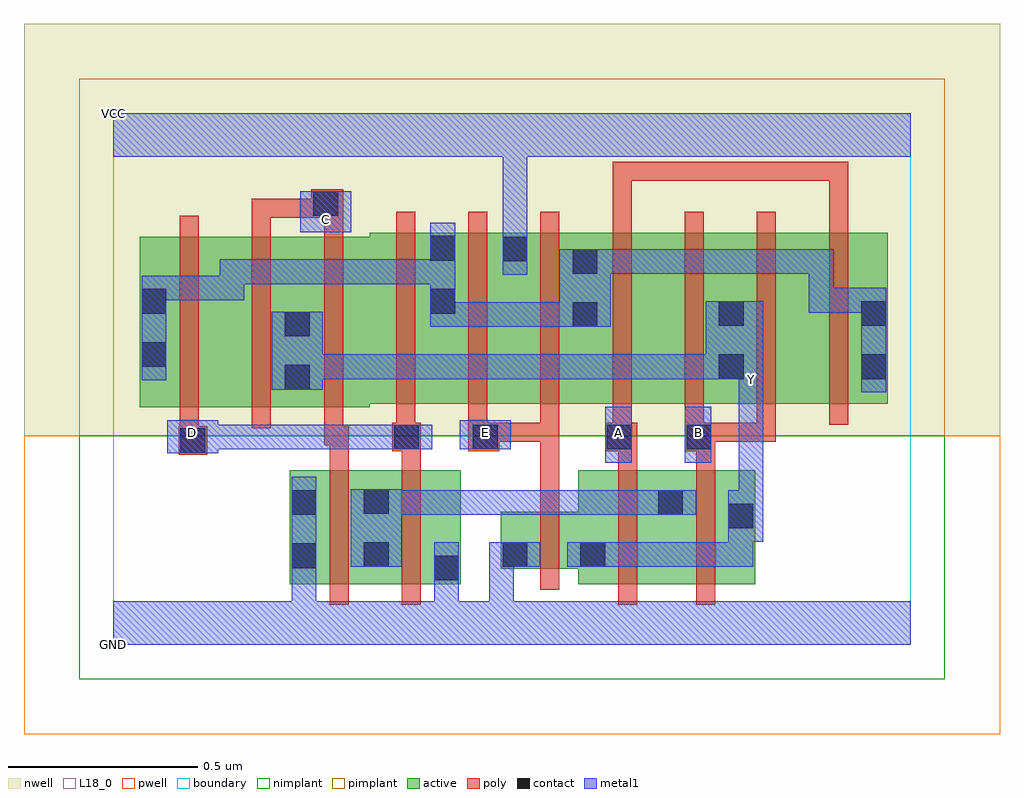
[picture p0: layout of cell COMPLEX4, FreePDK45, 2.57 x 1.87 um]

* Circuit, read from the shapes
.subckt COMPLEX4 A B C D E GND VCC Y
M1 n1 C GND VSUBS nfet w=0.3u l=0.05u
M2 GND D n1 VSUBS nfet w=0.3u l=0.05u
M3 Y E GND VSUBS nfet w=0.15u l=0.05u
M4 n1 A Y VSUBS nfet w=0.3u l=0.05u
M5 Y B n1 VSUBS nfet w=0.3u l=0.05u
M6 n2 D n3 n4 pfet w=0.45u l=0.05u
M7 Y C n2 n4 pfet w=0.45u l=0.05u
M8 n5 C Y n4 pfet w=0.45u l=0.05u
M9 n3 D n5 n4 pfet w=0.45u l=0.05u
M10 VCC E n3 n4 pfet w=0.45u l=0.05u m=2
M11 n6 A n3 n4 pfet w=0.45u l=0.05u
M12 Y B n6 n4 pfet w=0.45u l=0.05u
M13 n7 B Y n4 pfet w=0.45u l=0.05u
M14 n3 A n7 n4 pfet w=0.45u l=0.05u
.ends

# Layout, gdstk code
import gdstk
lib = gdstk.Library(unit=1e-6, precision=1e-09)
def R(c, l, rs):  # rectangles x0, y0, x1, y1
    for r in rs: c.add(gdstk.rectangle(r[:2], r[2:], *l))
def A(c, l, x, y, w, h, nx, ny, dx, dy):  # array of equal rectangles
    R(c, l, [(x+i*dx, y+j*dy, x+i*dx+w, y+j*dy+h) for i in range(nx) for j in range(ny)])
active = (1, 0)
pwell = (2, 0)
nwell = (3, 0)
nimplant = (4, 0)
pimplant = (5, 0)
poly = (9, 0)
contact = (10, 0)
metal1 = (11, 0)
L18_0 = (18, 0)
boundary = (235, 0)

complex4 = lib.new_cell('COMPLEX4')
R(complex4, active, [(0.465,0.16,0.73,0.46), (0.655,0.16,0.915,0.46), (0.84,0.16,0.915,0.46), (1.225,0.16,1.505,0.46), (1.43,0.16,1.69,0.46), (0.465,0.175,0.54,0.46), (0.655,0.195,0.73,0.415), (1.43,0.195,1.505,0.412), (1.615,0.195,1.69,0.46), (1.02,0.2,1.3,0.35), (1.02,0.2,1.095,0.35), (1.225,0.2,1.3,0.275), (0.07,0.625,0.295,1.075), (0.07,0.625,0.145,1.055), (0.295,0.625,0.522,1.075), (0.447,0.625,0.675,1.075), (0.675,0.635,0.905,1.085), (0.83,0.635,1.095,1.085), (1.02,0.635,1.28,1.085), (1.205,0.635,1.435,1.085), (1.435,0.635,1.665,1.085), (1.59,0.635,1.665,1.055), (1.59,0.635,1.815,1.085), (1.815,0.635,2.04,1.085), (1.965,0.635,2.04,1.055), (0.447,0.667,0.522,0.897), (0.83,0.702,0.905,1.082), (1.205,0.782,1.28,1.055), (1.02,0.857,1.095,1.08)])
R(complex4, pwell, [(-0.235,-0.235,2.335,0.55)])
R(complex4, nwell, [(-0.235,0.55,2.335,1.635)])
R(complex4, nimplant, [(-0.09,-0.09,2.19,0.55)])
R(complex4, pimplant, [(-0.09,0.55,2.19,1.49)])
A(complex4, poly, 0.745, 0.535, 0.05, 0.095, 6, 1, 0.19, 0)
A(complex4, poly, 0.175, 0.57, 0.05, 0.56, 3, 1, 0.19, 0)
A(complex4, poly, 0.745, 0.58, 0.05, 0.56, 7, 1, 0.19, 0)
R(complex4, poly, [(0.57,0.105,0.62,0.515), (0.76,0.105,0.81,0.515), (1.33,0.105,1.38,0.515), (1.535,0.105,1.585,0.515), (1.125,0.145,1.175,0.405), (1.125,0.355,1.175,0.585), (0.57,0.465,0.62,0.575), (0.76,0.465,0.81,0.56), (1.33,0.465,1.38,0.56), (1.535,0.465,1.585,0.56), (0.172,0.5,0.247,0.575), (0.735,0.51,0.81,0.585), (0.935,0.51,1.017,0.585), (1.295,0.51,1.38,0.585), (1.505,0.51,1.585,0.585), (0.175,0.525,0.225,0.62), (0.555,0.525,0.605,0.62), (0.555,0.525,0.62,0.575), (0.967,0.535,1.175,0.585), (1.125,0.535,1.175,0.585), (1.125,0.535,1.175,0.585), (1.125,0.535,1.175,0.585), (1.535,0.535,1.585,0.585), (1.535,0.535,1.585,0.585), (1.535,0.535,1.745,0.585), (1.695,0.535,1.745,0.585), (0.365,1.08,0.415,1.175), (0.555,1.08,0.605,1.175), (1.315,1.09,1.365,1.272), (1.885,1.09,1.935,1.272), (0.365,1.125,0.415,1.175), (0.365,1.125,0.572,1.175), (0.522,1.125,0.572,1.175), (0.522,1.125,0.572,1.175), (0.522,1.125,0.605,1.2), (1.315,1.222,1.365,1.272), (1.315,1.222,1.365,1.272), (1.315,1.222,1.365,1.272), (1.315,1.222,1.585,1.272), (1.535,1.222,1.585,1.272), (1.535,1.222,1.585,1.272), (1.535,1.222,1.585,1.272), (1.535,1.222,1.717,1.272), (1.667,1.222,1.717,1.272), (1.667,1.222,1.935,1.272), (1.885,1.222,1.935,1.272), (1.885,1.222,1.935,1.272), (1.885,1.222,1.935,1.272)])
R(complex4, contact, [(0.845,0.17,0.91,0.235), (0.47,0.202,0.535,0.267), (0.66,0.205,0.725,0.27), (1.025,0.205,1.09,0.27), (1.23,0.205,1.295,0.27), (1.62,0.307,1.685,0.372), (0.47,0.342,0.535,0.407), (1.435,0.342,1.5,0.407), (0.66,0.345,0.725,0.41), (0.177,0.505,0.242,0.57), (0.74,0.515,0.805,0.58), (0.947,0.515,1.012,0.58), (1.3,0.515,1.365,0.58), (1.51,0.515,1.575,0.58), (0.452,0.672,0.517,0.737), (1.595,0.7,1.66,0.765), (1.97,0.7,2.035,0.765), (0.075,0.732,0.14,0.797), (0.452,0.812,0.517,0.877), (1.21,0.837,1.275,0.902), (1.595,0.84,1.66,0.905), (1.97,0.84,2.035,0.905), (0.075,0.872,0.14,0.937), (0.835,0.872,0.9,0.937), (1.21,0.977,1.275,1.042), (1.025,1.01,1.09,1.075), (0.835,1.012,0.9,1.077), (0.527,1.13,0.592,1.195)])
R(complex4, metal1, [(0,0,2.1,0.115), (0.47,0.05,0.535,0.232), (0.845,0.05,0.91,0.2), (0.99,0.05,1.055,0.115), (0.99,0.05,1.055,0.115), (0.99,0.05,1.055,0.27), (0.845,0.135,0.91,0.27), (0.47,0.167,0.535,0.442), (0.625,0.205,0.76,0.41), (0.99,0.205,1.125,0.27), (1.195,0.205,1.33,0.27), (1.265,0.205,1.33,0.27), (1.265,0.205,1.33,0.27), (1.265,0.205,1.467,0.27), (1.402,0.205,1.467,0.27), (1.402,0.205,1.685,0.27), (1.62,0.205,1.685,0.27), (1.62,0.205,1.685,0.27), (1.62,0.205,1.685,0.27), (1.62,0.205,1.685,0.337), (1.62,0.272,1.712,0.407), (0.695,0.342,0.76,0.407), (0.695,0.342,0.76,0.407), (0.695,0.342,0.9,0.407), (0.835,0.342,0.9,0.407), (0.835,0.342,0.9,0.407), (0.835,0.342,0.9,0.407), (0.835,0.342,1.047,0.407), (0.982,0.342,1.047,0.407), (0.982,0.342,1.047,0.407), (0.982,0.342,1.047,0.407), (0.982,0.342,1.262,0.407), (1.197,0.342,1.262,0.407), (1.197,0.342,1.262,0.407), (1.197,0.342,1.262,0.407), (1.197,0.342,1.465,0.407), (1.4,0.342,1.535,0.407), (1.647,0.342,1.712,0.697), (1.295,0.48,1.365,0.627), (1.505,0.48,1.575,0.627), (0.142,0.505,0.277,0.592), (0.212,0.515,0.277,0.58), (0.212,0.515,0.277,0.58), (0.212,0.515,0.415,0.58), (0.35,0.515,0.415,0.58), (0.35,0.515,0.552,0.58), (0.487,0.515,0.552,0.58), (0.487,0.515,0.552,0.58), (0.487,0.515,0.552,0.58), (0.487,0.515,0.762,0.58), (0.697,0.515,0.762,0.58), (0.697,0.515,0.77,0.58), (0.705,0.515,0.84,0.58), (0.912,0.515,1.047,0.592), (1.647,0.632,1.712,0.767), (1.97,0.665,2.035,0.94), (0.417,0.672,0.552,0.877), (0.075,0.697,0.14,0.972), (0.487,0.7,0.552,0.765), (0.487,0.7,0.552,0.765), (0.487,0.7,0.762,0.765), (0.697,0.7,0.762,0.765), (0.697,0.7,0.762,0.765), (0.697,0.7,0.762,0.765), (0.697,0.7,0.907,0.765), (0.842,0.7,0.907,0.765), (0.842,0.7,0.91,0.765), (0.845,0.7,0.91,0.765), (0.845,0.7,1.102,0.765), (1.037,0.7,1.102,0.765), (1.037,0.7,1.102,0.765), (1.037,0.7,1.102,0.765), (1.037,0.7,1.262,0.765), (1.197,0.7,1.262,0.765), (1.197,0.7,1.262,0.765), (1.197,0.7,1.262,0.765), (1.197,0.7,1.467,0.765), (1.402,0.7,1.467,0.765), (1.402,0.7,1.625,0.765), (1.56,0.7,1.625,0.765), (1.56,0.7,1.625,0.765), (1.56,0.7,1.712,0.905), (1.647,0.7,1.712,0.765), (0.835,0.837,0.9,0.902), (0.835,0.837,0.9,0.902), (0.835,0.837,0.9,1.112), (0.835,0.837,1.047,0.902), (0.982,0.837,1.047,0.902), (0.982,0.837,1.047,0.902), (0.982,0.837,1.047,0.902), (0.982,0.837,1.24,0.902), (1.175,0.837,1.31,1.042), (1.832,0.875,1.897,0.94), (1.832,0.875,2.035,0.94), (1.832,0.875,1.897,1.042), (1.97,0.875,2.035,0.94), (1.97,0.875,2.035,0.94), (0.075,0.907,0.14,0.972), (0.075,0.907,0.14,0.972), (0.075,0.907,0.345,0.972), (0.28,0.907,0.345,0.972), (0.28,0.907,0.345,1.015), (0.28,0.95,0.345,1.015), (0.28,0.95,0.415,1.015), (0.35,0.95,0.415,1.015), (0.35,0.95,0.552,1.015), (0.487,0.95,0.552,1.015), (0.487,0.95,0.552,1.015), (0.487,0.95,0.552,1.015), (0.487,0.95,0.762,1.015), (0.697,0.95,0.762,1.015), (0.697,0.95,0.762,1.015), (0.697,0.95,0.762,1.015), (0.697,0.95,0.9,1.015), (1.025,0.975,1.09,1.11), (1.245,0.977,1.31,1.042), (1.245,0.977,1.31,1.042), (1.245,0.977,1.487,1.042), (1.422,0.977,1.487,1.042), (1.422,0.977,1.487,1.042), (1.422,0.977,1.487,1.042), (1.422,0.977,1.625,1.042), (1.56,0.977,1.625,1.042), (1.56,0.977,1.897,1.042), (1.832,0.977,1.897,1.042), (1.832,0.977,1.897,1.042), (1.832,0.977,1.897,1.042), (1.025,1.045,1.09,1.35), (0.492,1.087,0.627,1.195), (0,1.285,2.1,1.4), (1.025,1.285,1.09,1.35), (1.025,1.285,1.09,1.35), (1.025,1.285,1.09,1.35), (1.025,1.285,1.09,1.35)])
R(complex4, L18_0, [(0,0,2.1,0.115), (0.47,0.05,0.535,0.232), (0.845,0.05,0.91,0.2), (0.99,0.05,1.055,0.115), (0.99,0.05,1.055,0.115), (0.99,0.05,1.055,0.27), (0.845,0.135,0.91,0.27), (0.47,0.167,0.535,0.442), (0.99,0.205,1.125,0.27), (1.195,0.205,1.33,0.27), (1.265,0.205,1.33,0.27), (1.265,0.205,1.33,0.27), (1.265,0.205,1.467,0.27), (1.402,0.205,1.467,0.27), (1.402,0.205,1.685,0.27), (1.62,0.205,1.685,0.27), (1.62,0.205,1.685,0.27), (1.62,0.205,1.685,0.27), (1.62,0.205,1.685,0.337), (1.62,0.272,1.712,0.407), (1.647,0.342,1.712,0.697), (1.295,0.48,1.365,0.627), (1.505,0.48,1.575,0.627), (0.142,0.505,0.277,0.592), (0.212,0.515,0.277,0.58), (0.212,0.515,0.277,0.58), (0.212,0.515,0.415,0.58), (0.35,0.515,0.415,0.58), (0.35,0.515,0.552,0.58), (0.487,0.515,0.552,0.58), (0.487,0.515,0.552,0.58), (0.487,0.515,0.552,0.58), (0.487,0.515,0.762,0.58), (0.697,0.515,0.762,0.58), (0.697,0.515,0.77,0.58), (0.705,0.515,0.84,0.58), (0.912,0.515,1.047,0.592), (0.177,0.527,0.242,0.592), (0.947,0.527,1.012,0.592), (1.297,0.527,1.362,0.592), (1.507,0.527,1.572,0.592), (1.647,0.632,1.712,0.767), (1.647,0.667,1.712,0.732), (0.417,0.672,0.552,0.877), (0.487,0.7,0.552,0.765), (0.487,0.7,0.552,0.765), (0.487,0.7,0.762,0.765), (0.697,0.7,0.762,0.765), (0.697,0.7,0.762,0.765), (0.697,0.7,0.762,0.765), (0.697,0.7,0.907,0.765), (0.842,0.7,0.907,0.765), (0.842,0.7,0.91,0.765), (0.845,0.7,0.91,0.765), (0.845,0.7,1.102,0.765), (1.037,0.7,1.102,0.765), (1.037,0.7,1.102,0.765), (1.037,0.7,1.102,0.765), (1.037,0.7,1.262,0.765), (1.197,0.7,1.262,0.765), (1.197,0.7,1.262,0.765), (1.197,0.7,1.262,0.765), (1.197,0.7,1.467,0.765), (1.402,0.7,1.467,0.765), (1.402,0.7,1.625,0.765), (1.56,0.7,1.625,0.765), (1.56,0.7,1.625,0.765), (1.56,0.7,1.712,0.905), (1.647,0.7,1.712,0.765), (1.025,0.975,1.09,1.11), (1.025,1.045,1.09,1.35), (0.492,1.087,0.627,1.195), (0.527,1.087,0.592,1.152), (0,1.285,2.1,1.4), (1.025,1.285,1.09,1.35), (1.025,1.285,1.09,1.35), (1.025,1.285,1.09,1.35), (1.025,1.285,1.09,1.35)])
R(complex4, boundary, [(0,0,2.1,1.4)])
complex4.add(gdstk.Label('A', (1.33,0.56), layer=11, texttype=0))
complex4.add(gdstk.Label('B', (1.54,0.56), layer=11, texttype=0))
complex4.add(gdstk.Label('C', (0.56,1.12), layer=11, texttype=0))
complex4.add(gdstk.Label('D', (0.21,0.56), layer=11, texttype=0))
complex4.add(gdstk.Label('E', (0.98,0.56), layer=11, texttype=0))
complex4.add(gdstk.Label('Y', (1.68,0.7), layer=11, texttype=0))
complex4.add(gdstk.Label('VCC', (0,1.4), layer=11, texttype=0))
complex4.add(gdstk.Label('GND', (0,0), layer=11, texttype=0))

lib.write_gds('COMPLEX4.gds')
